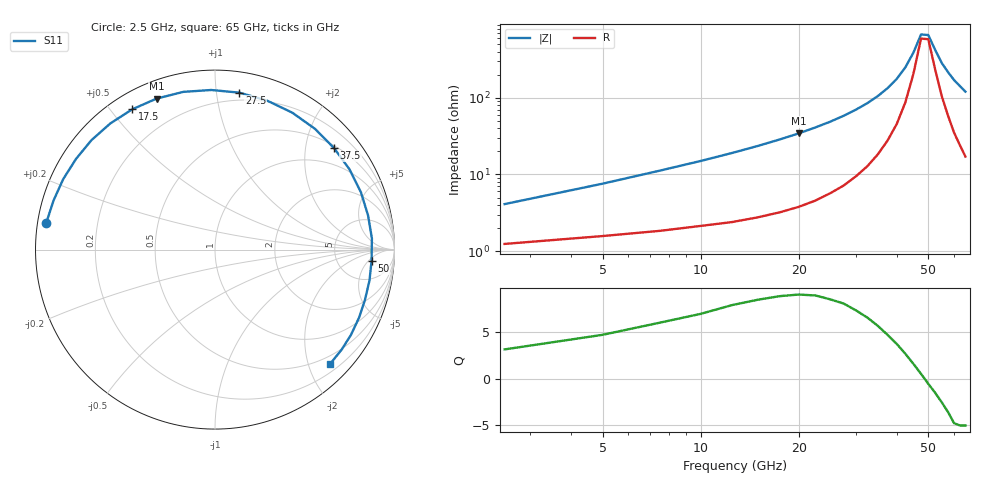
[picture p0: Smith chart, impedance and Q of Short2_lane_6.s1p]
! File created by SignalIntegrity v1.5.1: Signal and Power Integrity Tools
! https://github.com/Nubis-Communications/SignalIntegrity
# MHz S MA R 50.0
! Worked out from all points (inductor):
!   26 points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, 2.5 GHz to 65 GHz, reference 50 ohm
!   read as one part to ground: L = 234 pH near 2.5 GHz
!   highest Q = 8.94 at 20 GHz (marker M1), where L = 272 pH
!   self-resonance near 48.76 GHz
!   S11 on the Smith chart (normalised r, x): 2.5 GHz: 0.02, +0.08; 17.5 GHz: 0.06, +0.57; 27.5 GHz: 0.14, +1.16; 37.5 GHz: 0.55, +2.61; 50 GHz: 12, -6; 65 GHz: 0.34, -2.38
2500  0.9519 171.0
5000  0.9403 163.1
7500  0.9323 155.0
10000  0.9246 146.9
12500  0.9196 138.4
15000  0.9134 129.7
17500  0.9076 120.6
20000  0.9021 111.2
22500  0.8963 101.3
25000  0.8895 91.4
27500  0.885 81.1
30000  0.8795 70.8
32500  0.8761 60.6
35000  0.8735 50.4
37500  0.8718 40.4
40000  0.8726 30.8
42500  0.8735 21.4
45000  0.8738 12.6
47500  0.8764 4.0
50000  0.8745 -4.1
52500  0.8778 -11.3
55000  0.8812 -18.6
57500  0.8876 -25.2
60000  0.8943 -32.2
62500  0.899 -38.2
65000  0.904 -44.8
